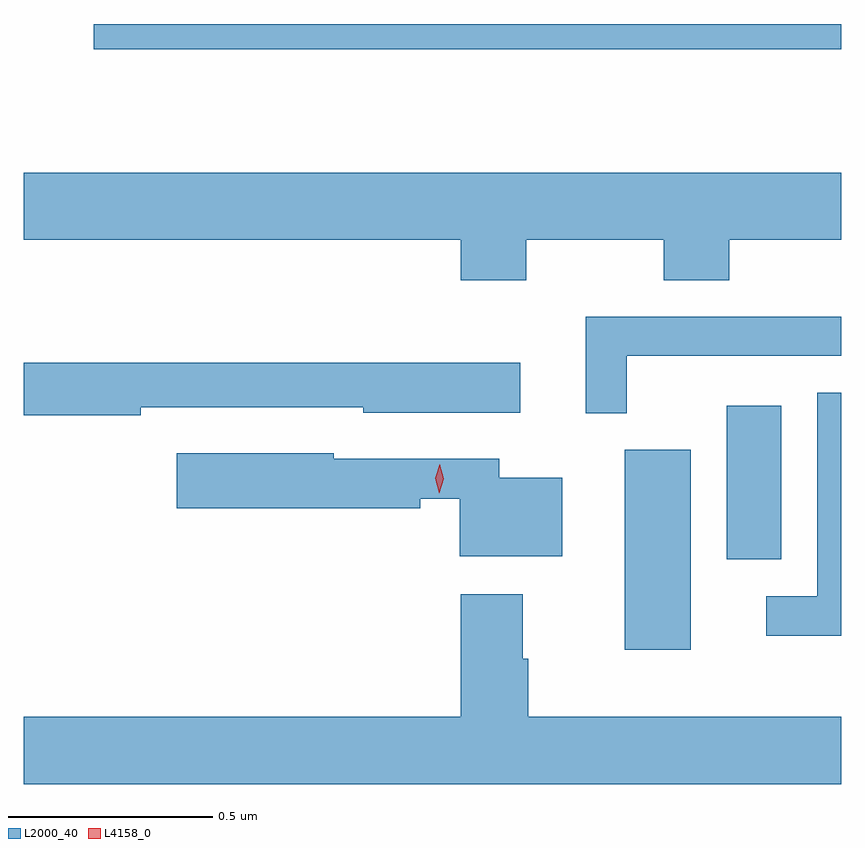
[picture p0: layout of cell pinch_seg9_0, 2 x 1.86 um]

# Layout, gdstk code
import gdstk
lib = gdstk.Library(unit=1e-6, precision=1e-09)
def R(c, l, rs):  # rectangles x0, y0, x1, y1
    for r in rs: c.add(gdstk.rectangle(r[:2], r[2:], *l))
def P(c, l, *ps):  # polygons
    for p in ps: c.add(gdstk.Polygon(p, *l))
L2000_40 = (2000, 40)
L4158_0 = (4158, 0)

pinch_seg9_0 = lib.new_cell('pinch_seg9_0')
R(pinch_seg9_0, L2000_40, [(977.399,1206.072,977.56,1206.562), (977.648,1206.294,977.782,1206.67), (976.099,1207.542,977.928,1207.604)])
P(pinch_seg9_0, L2000_40, [(977.157,1207.076),(977.494,1207.076),(977.494,1206.977),(977.654,1206.977),(977.654,1207.076),(977.928,1207.076),(977.928,1207.24),(975.928,1207.24),(975.928,1207.076),(976.997,1207.076),(976.997,1206.977),(977.157,1206.977)],
  [(977.403,1206.792),(977.928,1206.792),(977.928,1206.888),(977.303,1206.888),(977.303,1206.651),(977.403,1206.651)],
  [(976.214,1206.666),(976.758,1206.666),(976.758,1206.653),(977.143,1206.653),(977.143,1206.775),(975.928,1206.775),(975.928,1206.646),(976.214,1206.646)],
  [(977.928,1206.702),(977.87,1206.702),(977.87,1206.204),(977.745,1206.204),(977.745,1206.107),(977.928,1206.107)],
  [(977.245,1206.493),(977.091,1206.493),(977.091,1206.54),(976.686,1206.54),(976.686,1206.553),(976.302,1206.553),(976.302,1206.419),(976.898,1206.419),(976.898,1206.442),(976.995,1206.442),(976.995,1206.302),(977.245,1206.302)],
  [(977.928,1205.908),(977.162,1205.908),(977.162,1206.05),(977.149,1206.05),(977.149,1206.208),(976.997,1206.208),(976.997,1205.908),(975.928,1205.908),(975.928,1205.744),(977.928,1205.744)])
P(pinch_seg9_0, L4158_0, [(976.945,1206.456),(976.945,1206.456),(976.935,1206.492),(976.946,1206.526),(976.946,1206.526),(976.946,1206.526),(976.955,1206.491),(976.945,1206.456)])

lib.write_gds('pinch_seg9_0.gds')
